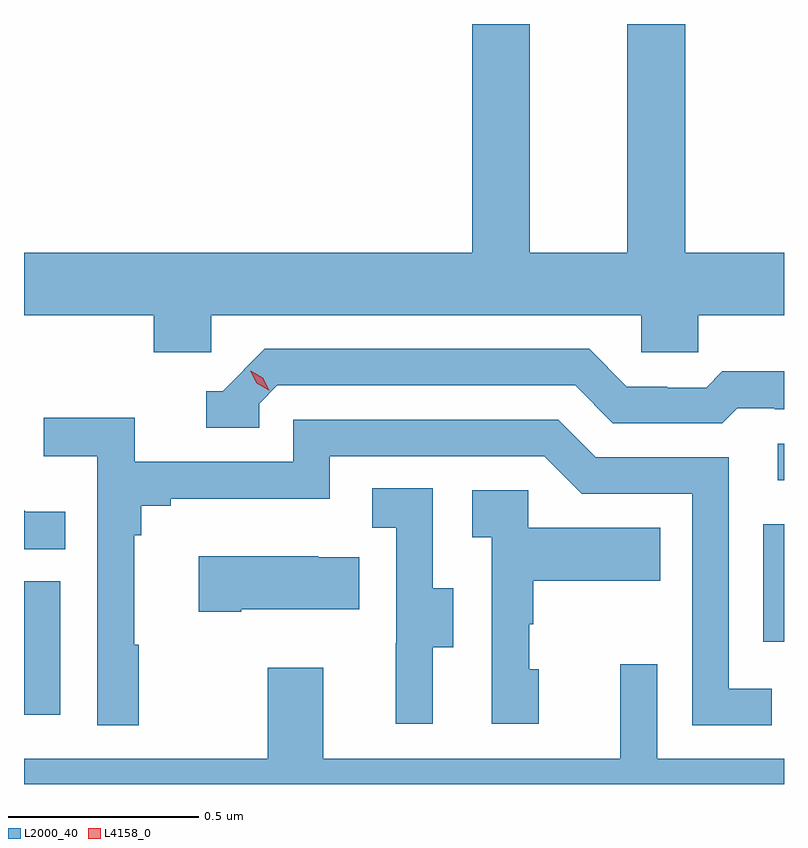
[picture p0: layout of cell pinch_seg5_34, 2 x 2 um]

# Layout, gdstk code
import gdstk
lib = gdstk.Library(unit=1e-6, precision=1e-09)
def R(c, l, rs):  # rectangles x0, y0, x1, y1
    for r in rs: c.add(gdstk.rectangle(r[:2], r[2:], *l))
def P(c, l, *ps):  # polygons
    for p in ps: c.add(gdstk.Polygon(p, *l))
L2000_40 = (2000, 40)
L4158_0 = (4158, 0)

pinch_seg5_34 = lib.new_cell('pinch_seg5_34')
R(pinch_seg5_34, L2000_40, [(1097.585,894.336,1097.68,894.687), (1099.53,894.528,1099.585,894.838), (1099.569,894.954,1099.585,895.05)])
P(pinch_seg5_34, L2000_40, [(1098.078,895.388),(1099.209,895.388),(1099.209,895.29),(1099.359,895.29),(1099.359,895.388),(1099.585,895.388),(1099.585,895.552),(1099.325,895.552),(1099.325,896.154),(1099.172,896.154),(1099.172,895.552),(1098.916,895.552),(1098.916,896.154),(1098.764,896.154),(1098.764,895.552),(1097.585,895.552),(1097.585,895.388),(1097.927,895.388),(1097.927,895.29),(1098.078,895.29)],
  [(1098.204,895.155),(1098.252,895.203),(1099.035,895.203),(1099.134,895.104),(1099.423,895.104),(1099.462,895.143),(1099.561,895.143),(1099.561,895.14),(1099.585,895.14),(1099.585,895.24),(1099.423,895.24),(1099.381,895.197),(1099.278,895.197),(1099.278,895.2),(1099.171,895.2),(1099.072,895.299),(1098.219,895.299),(1098.108,895.188),(1098.065,895.188),(1098.065,895.092),(1098.204,895.092)],
  [(1097.887,894.521),(1097.875,894.521),(1097.875,894.809),(1097.894,894.809),(1097.894,894.886),(1097.971,894.886),(1097.971,894.905),(1098.39,894.905),(1098.39,895.017),(1098.954,895.017),(1099.053,894.918),(1099.344,894.918),(1099.344,894.309),(1099.553,894.309),(1099.553,894.405),(1099.44,894.405),(1099.44,895.014),(1099.09,895.014),(1098.991,895.113),(1098.294,895.113),(1098.294,895.002),(1097.876,895.002),(1097.876,895.118),(1097.637,895.118),(1097.637,895.016),(1097.778,895.016),(1097.778,894.309),(1097.887,894.309)],
  [(1098.661,894.514),(1098.715,894.514),(1098.715,894.669),(1098.66,894.669),(1098.66,894.932),(1098.501,894.932),(1098.501,894.829),(1098.564,894.829),(1098.564,894.525),(1098.563,894.525),(1098.563,894.312),(1098.661,894.312)],
  [(1098.94,894.456),(1098.915,894.456),(1098.915,894.575),(1098.925,894.575),(1098.925,894.689),(1099.259,894.689),(1099.259,894.829),(1098.912,894.829),(1098.912,894.927),(1098.765,894.927),(1098.765,894.803),(1098.816,894.803),(1098.816,894.312),(1098.94,894.312)],
  [(1097.693,894.871),(1097.589,894.871),(1097.585,894.875),(1097.585,894.772),(1097.693,894.772)],
  [(1098.157,894.614),(1098.467,894.614),(1098.467,894.751),(1098.359,894.751),(1098.359,894.754),(1098.045,894.754),(1098.045,894.607),(1098.157,894.607)],
  [(1099.585,894.22),(1099.251,894.22),(1099.251,894.469),(1099.154,894.469),(1099.154,894.22),(1098.373,894.22),(1098.373,894.46),(1098.226,894.46),(1098.226,894.22),(1097.585,894.22),(1097.585,894.154),(1099.585,894.154)])
P(pinch_seg5_34, L4158_0, [(1098.229,895.19),(1098.198,895.209),(1098.181,895.242),(1098.181,895.242),(1098.182,895.242),(1098.213,895.223),(1098.23,895.19),(1098.23,895.19)])

lib.write_gds('pinch_seg5_34.gds')
